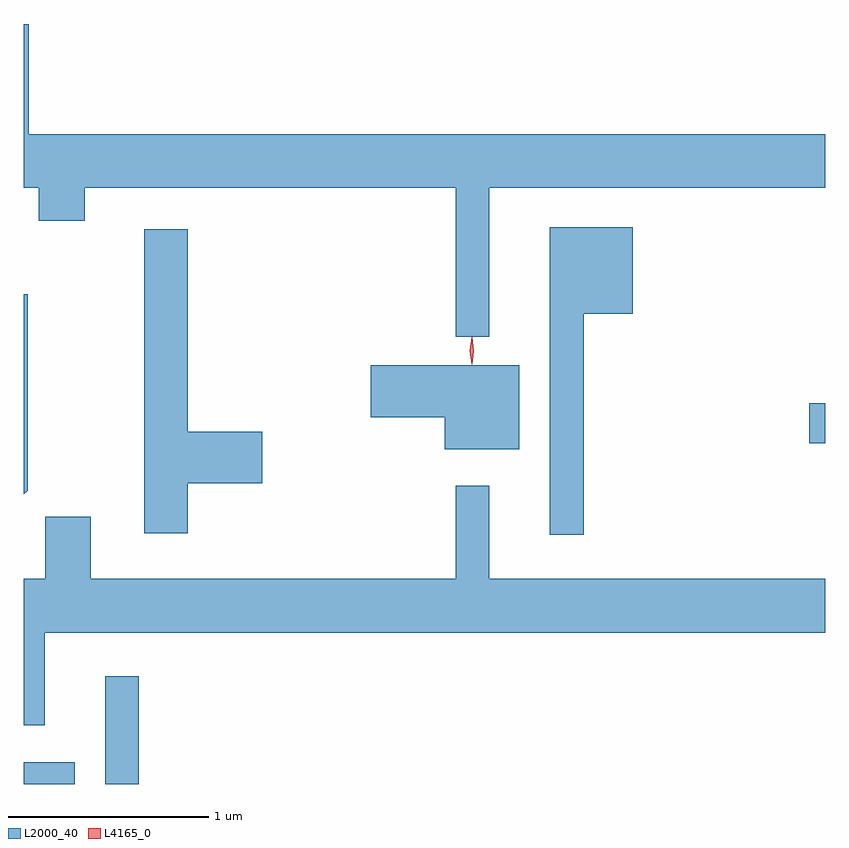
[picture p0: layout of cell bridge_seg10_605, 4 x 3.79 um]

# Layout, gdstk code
import gdstk
lib = gdstk.Library(unit=1e-6, precision=1e-09)
def R(c, l, rs):  # rectangles x0, y0, x1, y1
    for r in rs: c.add(gdstk.rectangle(r[:2], r[2:], *l))
def P(c, l, *ps):  # polygons
    for p in ps: c.add(gdstk.Polygon(p, *l))
L2000_40 = (2000, 40)
L4165_0 = (4165, 0)

bridge_seg10_605 = lib.new_cell('bridge_seg10_605')
R(bridge_seg10_605, L2000_40, [(747.845,2097.62,748.099,2097.729), (748.251,2097.62,748.419,2098.158), (751.766,2099.321,751.845,2099.519)])
P(bridge_seg10_605, L2000_40, [(750.169,2100.596),(751.845,2100.596),(751.845,2100.864),(747.869,2100.864),(747.869,2101.413),(747.845,2101.413),(747.845,2100.596),(747.921,2100.596),(747.921,2100.431),(748.149,2100.431),(748.149,2100.596),(750.001,2100.596),(750.001,2099.853),(750.169,2099.853)],
  [(750.639,2099.966),(750.884,2099.966),(750.884,2100.399),(750.471,2100.399),(750.471,2098.863),(750.639,2098.863)],
  [(748.664,2099.121),(749.034,2099.121),(749.034,2099.379),(748.664,2099.379),(748.664,2100.389),(748.446,2100.389),(748.446,2098.871),(748.664,2098.871)],
  [(747.864,2099.084),(747.864,2100.064),(747.845,2100.064),(747.845,2099.065)],
  [(750.319,2099.709),(749.576,2099.709),(749.576,2099.451),(749.946,2099.451),(749.946,2099.291),(750.319,2099.291)],
  [(747.949,2098.376),(751.845,2098.376),(751.845,2098.644),(750.169,2098.644),(750.169,2099.108),(750.001,2099.108),(750.001,2098.644),(748.179,2098.644),(748.179,2098.954),(747.951,2098.954),(747.951,2098.644),(747.845,2098.644),(747.845,2097.913),(747.949,2097.913)])
P(bridge_seg10_605, L4165_0, [(750.082,2099.72),(750.082,2099.72),(750.072,2099.783),(750.082,2099.846),(750.082,2099.847),(750.083,2099.846),(750.092,2099.783),(750.083,2099.72)],
  [(750.082,2099.714),(750.082,2099.714),(750.072,2099.782),(750.082,2099.85),(750.082,2099.85),(750.083,2099.85),(750.092,2099.782),(750.083,2099.714)])

lib.write_gds('bridge_seg10_605.gds')
